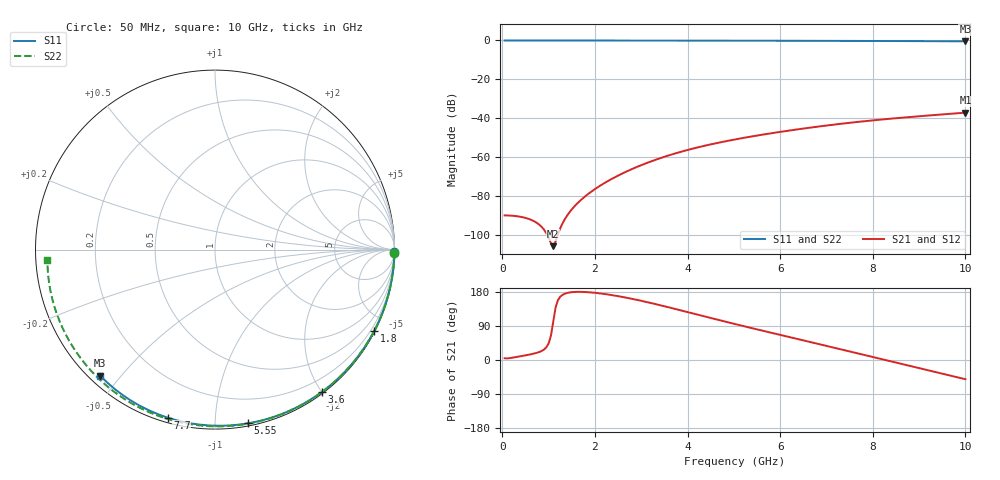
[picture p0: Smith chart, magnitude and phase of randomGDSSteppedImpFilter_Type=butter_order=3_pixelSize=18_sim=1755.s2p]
! freq	dB(S11)	phase(S11)	dB(S12)	phase(S12)
!  dB(S21)	phase(S21)	dB(S22)	phase(S22)
!S-par simulation data
#  GHz  S  DB  R 50
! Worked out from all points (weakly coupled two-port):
!   200 points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, 50 MHz to 10 GHz, reference 50 ohm
!   highest |S21| = -37.11 dB at 10 GHz (marker M1); lowest = -105.8 dB at 1.1 GHz (marker M2)
!   lowest |S11| = -0.4 dB at 10 GHz (marker M3), VSWR 38.89, Z = 1.54 - j22.1 ohm
!   |S11| at or under -10 dB: nowhere
!   |S22| runs from -0.6 to 0.0 dB; largest |S21 - S12| = 0
!   S11 on the Smith chart (normalised r, x): 50 MHz: open; 1.8 GHz: 0.04, -4.14; 3.6 GHz: 0.02, -2.00; 5.55 GHz: 0.02, -1.21; 7.7 GHz: 0.02, -0.76; 10 GHz: 0.03, -0.44
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0.05  -0.00 -0.8  -89.94 4.7  -89.94 4.7  -0.00 -1.0
0.55  -0.01 -8.4  -91.60 13.4  -91.60 13.4  -0.01 -11.1
1.1  -0.02 -16.7  -105.78 100.0  -105.78 100.0  -0.03 -22.1
1.75  -0.03 -26.4  -80.94 179.6  -80.94 179.6  -0.04 -34.9
1.8  -0.03 -27.2  -79.96 179.3  -79.96 179.3  -0.05 -35.9
1.95  -0.04 -29.4  -77.26 177.9  -77.26 177.9  -0.05 -38.8
2.1  -0.04 -31.6  -74.87 175.9  -74.87 175.9  -0.05 -41.7
2.3  -0.04 -34.5  -72.03 172.6  -72.03 172.6  -0.06 -45.5
2.5  -0.05 -37.4  -69.49 168.5  -69.49 168.5  -0.06 -49.3
2.95  -0.06 -43.9  -64.61 157.6  -64.61 157.6  -0.08 -57.8
3.4  -0.07 -50.3  -60.61 144.9  -60.61 144.9  -0.09 -66.0
3.6  -0.07 -53.1  -59.06 138.9  -59.06 138.9  -0.09 -69.7
4.25  -0.09 -62.0  -54.81 118.7  -54.81 118.7  -0.11 -81.2
4.65  -0.10 -67.4  -52.67 106.3  -52.67 106.3  -0.13 -88.2
5.05  -0.11 -72.7  -50.79 94.1  -50.79 94.1  -0.15 -95.0
5.55  -0.13 -79.2  -48.70 79.3  -48.70 79.3  -0.17 -103.4
6.1  -0.15 -86.2  -46.66 63.4  -46.66 63.4  -0.20 -112.4
6.7  -0.18 -93.7  -44.66 46.0  -44.66 46.0  -0.24 -122.1
7.7  -0.24 -105.7  -41.82 16.7  -41.82 16.7  -0.32 -138.2
8.35  -0.29 -113.4  -40.30 -2.5  -40.30 -2.5  -0.38 -148.7
9.2  -0.36 -123.2  -38.60 -27.3  -38.60 -27.3  -0.47 -162.7
10  -0.45 -132.3  -37.11 -50.7  -37.11 -50.7  -0.58 -176.4
